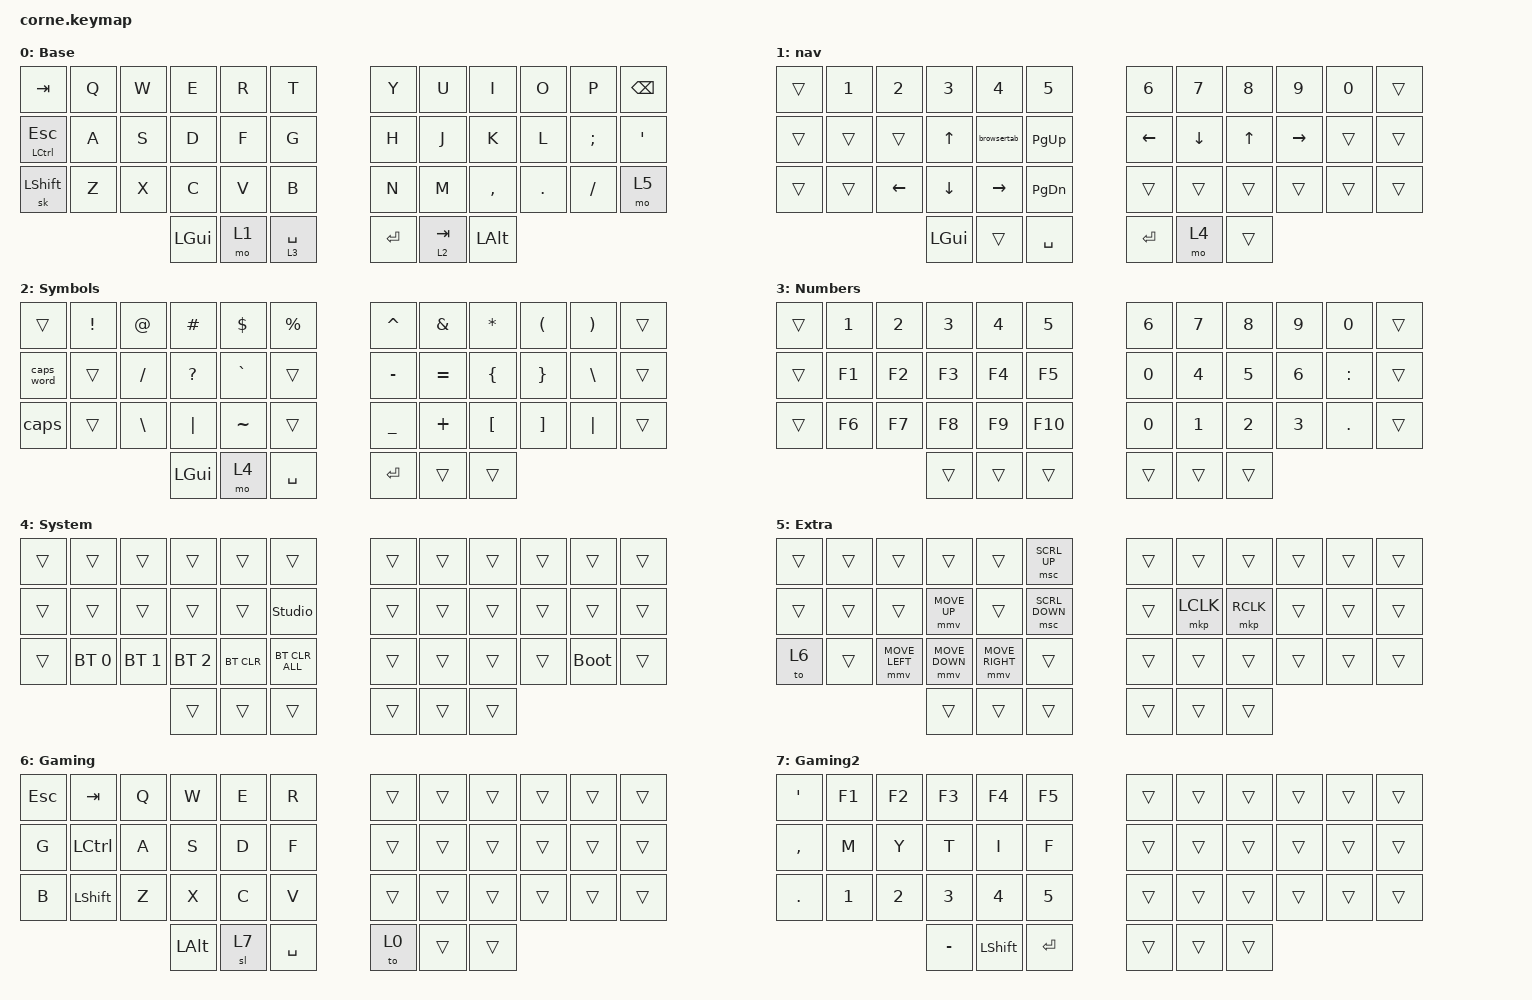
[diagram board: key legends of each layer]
#include <behaviors.dtsi>
#include <dt-bindings/zmk/bt.h>
#include <dt-bindings/zmk/keys.h>
#include <dt-bindings/zmk/pointing.h>

#define DEF 0
#define NAV 1
#define SYM 2
#define ADJ 3
#define EXTRA 4

/ {
    behaviors {
        hm: homerow_mods {
            compatible = "zmk,behavior-hold-tap";
            #binding-cells = <2>;
            tapping-term-ms = <200>;
            flavor = "tap-preferred";
            bindings = <&kp>, <&kp>;

            quick-tap-ms = <180>;
            require-prior-idle-ms = <120>; /* tune to taste */
        };

        para: para {
            compatible = "zmk,behavior-tap-dance";
            #binding-cells = <0>;
            bindings = <&kp LEFT_PARENTHESIS>, <&kp RIGHT_PARENTHESIS>;
        };

        caps: caps {
            compatible = "zmk,behavior-caps-word";
            #binding-cells = <0>;
            continue-list = <MINUS BACKSPACE>;
        };

        paraless: paraless {
            compatible = "zmk,behavior-mod-morph";
            bindings = <&kp LEFT_PARENTHESIS>, <&kp LESS_THAN>;

            #binding-cells = <0>;
            mods = <(MOD_LSFT)>;
        };

        paragreat: paragreat {
            compatible = "zmk,behavior-mod-morph";
            bindings = <&kp RIGHT_PARENTHESIS>, <&kp GREATER_THAN>;

            #binding-cells = <0>;
            mods = <(MOD_LSFT)>;
        };
    };

    macros {
        browsertab: browsertab {
            compatible = "zmk,behavior-macro";
            #binding-cells = <0>;
            bindings =
                <&macro_press>,
                <&kp LCTRL>,
                <&macro_tap>,
                <&kp TAB>,
                <&macro_release>,
                <&kp LCTRL>;
        };
    };

    combos {
        compatible = "zmk,combos";

        perc {
            bindings = <&kp PERCENT>;
            key-positions = <5 17>;
            layers = <0>;
        };

        equal {
            bindings = <&kp EQUAL>;
            key-positions = <28 16>;
            layers = <0>;
        };

        dollar {
            bindings = <&kp DOLLAR>;
            key-positions = <4 16>;
            layers = <0>;
        };

        pound {
            bindings = <&kp POUND>;
            key-positions = <3 15>;
            layers = <0>;
        };

        at {
            bindings = <&kp AT>;
            key-positions = <2 14>;
            layers = <0>;
        };

        backslash {
            bindings = <&kp BACKSLASH>;
            key-positions = <26 14>;
            layers = <0>;
        };

        star {
            bindings = <&kp STAR>;
            key-positions = <8 20>;
            layers = <0>;
        };

        slash {
            bindings = <&kp SLASH>;
            key-positions = <32 20>;
            layers = <0>;
        };

        plus {
            bindings = <&kp PLUS>;
            key-positions = <7 19>;
            layers = <0>;
        };

        minus {
            bindings = <&kp KP_MINUS>;
            key-positions = <31 19>;
            layers = <0>;
        };

        underscore {
            bindings = <&kp UNDER>;
            key-positions = <30 18>;
            layers = <0>;
        };

        leftbrack {
            bindings = <&kp LEFT_BRACKET>;
            key-positions = <31 32>;
            layers = <0>;
        };

        rightbrack {
            bindings = <&kp RIGHT_BRACKET>;
            key-positions = <33 32>;
            layers = <0>;
        };

        para-less {
            bindings = <&paraless>;
            key-positions = <20 19>;
            layers = <0>;
        };

        para-great {
            bindings = <&paragreat>;
            key-positions = <20 21>;
            layers = <0>;
        };

        backspace {
            bindings = <&kp BACKSPACE>;
            key-positions = <15 20>;
        };

        esc {
            bindings = <&kp ESC>;
            key-positions = <13 16>;
        };

        double_quote {
            bindings = <&kp DOUBLE_QUOTES>;
            key-positions = <21 22>;
        };

        sticky_shift {
            bindings = <&sk LEFT_SHIFT>;
            key-positions = <16 19>;
        };

        open_angbrk {
            bindings = <&kp LESS_THAN>;
            key-positions = <31 33>;
        };

        clos_angbrk {
            bindings = <&kp GREATER_THAN>;
            key-positions = <31 34>;
        };

        left_brace {
            bindings = <&kp LEFT_BRACE>;
            key-positions = <7 8>;
        };

        right_brace {
            bindings = <&kp RIGHT_BRACE>;
            key-positions = <7 9>;
        };
    };

    //

    keymap {
        compatible = "zmk,keymap";

        DEF {
            display-name = "Base";

            // -----------------------------------------------------------------------------------------
            // |  Q  |  W  |  E  |  R  |  T  |   |  Y  |  U   |  I  |  O  |  P  |
            // |  A  |  S  |  D  |  F  |  G  |   |  H  |  J   |  K  |  L  |  ;  |
            // |  Z  |  X  |  C  |  V  |  B  |   |  N  |  M   |  ,  |  .  |  /  |
            // | GUI | CTRL | SHFT | LWR | SPC |   | ENT | RSE  | BKSP | ALT | ESC |

            bindings = <
&kp TAB           &kp Q  &kp W  &kp E     &kp R  &kp T          &kp Y    &kp U      &kp I         &kp O    &kp P     &kp BACKSPACE
&mt LCTRL ESCAPE  &kp A  &kp S  &kp D     &kp F  &kp G          &kp H    &kp J      &kp K         &kp L    &kp SEMI  &kp SQT
&sk LEFT_SHIFT    &kp Z  &kp X  &kp C     &kp V  &kp B          &kp N    &kp M      &kp COMMA     &kp DOT  &kp FSLH  &mo 5
                                &kp LGUI  &mo 1  &lt 3 SPACE    &kp RET  &lt 2 TAB  &kp LEFT_ALT
            >;
        };

        NAV {
            display-name = "nav";

            // -----------------------------------------------------------------------------------------
            // |  TAB |  1  |  2  |  3  |  4  |  5  |   |  6  |  7  |  8  |  9  |  0  | BKSP |
            // | BTCLR| BT1 | BT2 | BT3 | BT4 | BT5 |   | LFT | DWN |  UP | RGT |     |      |
            // | SHFT |     |     |     |     |     |   |     |     |     |     |     |      |
            // | GUI | CTRL | SHFT | LWR | SPC |   | ENT | RSE  | BKSP | ALT | ESC |

            bindings = <
&trans  &kp N1  &kp N2    &kp N3        &kp N4           &kp N5           &kp N6          &kp N7          &kp N8        &kp N9     &kp N0  &trans
&trans  &trans  &trans    &kp UP_ARROW  &browsertab      &kp PAGE_UP      &kp LEFT_ARROW  &kp DOWN_ARROW  &kp UP_ARROW  &kp RIGHT  &trans  &trans
&trans  &trans  &kp LEFT  &kp DOWN      &kp RIGHT_ARROW  &kp PAGE_DOWN    &trans          &trans          &trans        &trans     &trans  &trans
                          &kp LGUI      &trans           &kp SPACE        &kp RET         &mo 4           &trans
            >;

            label = "Navigation";
        };

        SYM {
            display-name = "Symbols";

            // -----------------------------------------------------------------------------------------
            // |  TAB |  !  |  @  |  #  |  $  |  %  |   |  ^  |  &  |  *  |  (  |  )  | BKSP |
            // | CTRL |     |     |     |     |     |   |  -  |  =  |  [  |  ]  |  \  |  `   |
            // | SHFT |     |     |     |     |     |   |  _  |  +  |  {  |  }  | "|" |  ~   |
            //                    | GUI |     | SPC |   | ENT |     | ALT |

            bindings = <
&trans      &kp EXCL  &kp AT    &kp HASH      &kp DLLR   &kp PRCNT    &kp CARET  &kp AMPS   &kp ASTRK         &kp LEFT_PARENTHESIS  &kp RPAR  &trans
&caps_word  &trans    &kp FSLH  &kp QUESTION  &kp GRAVE  &trans       &kp MINUS  &kp EQUAL  &kp LEFT_BRACE    &kp RIGHT_BRACE       &kp BSLH  &trans
&caps       &trans    &kp BSLH  &kp PIPE      &kp TILDE  &trans       &kp UNDER  &kp PLUS   &kp LEFT_BRACKET  &kp RIGHT_BRACKET     &kp PIPE  &trans
                                &kp LGUI      &mo 4      &kp SPACE    &kp RET    &trans     &trans
            >;
        };

        NUM {
            bindings = <
&trans  &kp N1  &kp N2  &kp N3  &kp N4  &kp N5     &kp N6  &kp N7  &kp N8  &kp N9  &kp N0     &trans
&trans  &kp F1  &kp F2  &kp F3  &kp F4  &kp F5     &kp N0  &kp N4  &kp N5  &kp N6  &kp COLON  &trans
&trans  &kp F6  &kp F7  &kp F8  &kp F9  &kp F10    &kp N0  &kp N1  &kp N2  &kp N3  &kp DOT    &trans
                        &trans  &trans  &trans     &trans  &trans  &trans
            >;

            label = "Numbers";
        };

        ADJ {
            display-name = "System";
            bindings = <
&trans  &trans        &trans        &trans        &trans      &trans            &trans  &trans  &trans  &trans  &trans       &trans
&trans  &trans        &trans        &trans        &trans      &studio_unlock    &trans  &trans  &trans  &trans  &trans       &trans
&trans  &bt BT_SEL 0  &bt BT_SEL 1  &bt BT_SEL 2  &bt BT_CLR  &bt BT_CLR_ALL    &trans  &trans  &trans  &trans  &bootloader  &trans
                                    &trans        &trans      &trans            &trans  &trans  &trans
            >;
        };

        EXTRA {
            display-name = "Extra";
            bindings = <
&trans  &trans  &trans          &trans          &trans           &msc SCRL_UP      &trans  &trans     &trans     &trans  &trans  &trans
&trans  &trans  &trans          &mmv MOVE_UP    &trans           &msc SCRL_DOWN    &trans  &mkp LCLK  &mkp RCLK  &trans  &trans  &trans
&to 6   &trans  &mmv MOVE_LEFT  &mmv MOVE_DOWN  &mmv MOVE_RIGHT  &trans            &trans  &trans     &trans     &trans  &trans  &trans
                                &trans          &trans           &trans            &trans  &trans     &trans
            >;
        };

        Gaming {
            bindings = <
&kp ESC  &kp TAB    &kp Q  &kp W     &kp E  &kp R        &trans  &trans  &trans  &trans  &trans  &trans
&kp G    &kp LCTRL  &kp A  &kp S     &kp D  &kp F        &trans  &trans  &trans  &trans  &trans  &trans
&kp B    &kp LSHFT  &kp Z  &kp X     &kp C  &kp V        &trans  &trans  &trans  &trans  &trans  &trans
                           &kp LALT  &sl 7  &kp SPACE    &to 0   &trans  &trans
            >;
        };

        Gaming2 {
            bindings = <
&kp APOS   &kp F1  &kp F2  &kp F3     &kp F4     &kp F5     &trans  &trans  &trans  &trans  &trans  &trans
&kp COMMA  &kp M   &kp Y   &kp T      &kp I      &kp F      &trans  &trans  &trans  &trans  &trans  &trans
&kp DOT    &kp N1  &kp N2  &kp N3     &kp N4     &kp N5     &trans  &trans  &trans  &trans  &trans  &trans
                           &kp MINUS  &kp LSHFT  &kp RET    &trans  &trans  &trans
            >;
        };
    };
};
